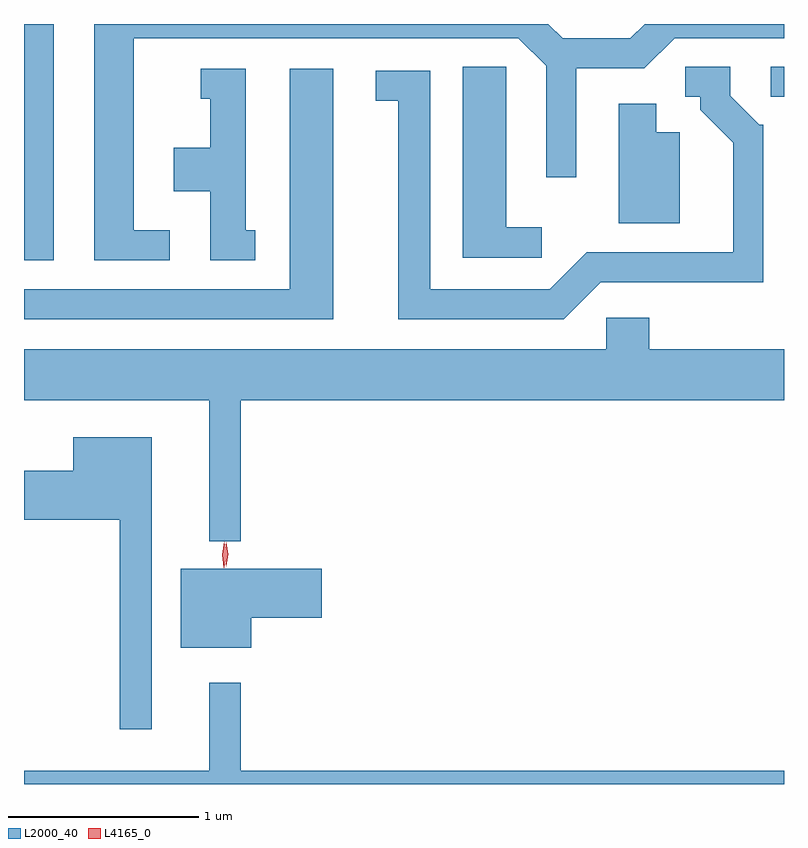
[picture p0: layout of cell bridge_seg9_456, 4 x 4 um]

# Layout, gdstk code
import gdstk
lib = gdstk.Library(unit=1e-6, precision=1e-09)
def R(c, l, rs):  # rectangles x0, y0, x1, y1
    for r in rs: c.add(gdstk.rectangle(r[:2], r[2:], *l))
def P(c, l, *ps):  # polygons
    for p in ps: c.add(gdstk.Polygon(p, *l))
L2000_40 = (2000, 40)
L4165_0 = (4165, 0)

bridge_seg9_456 = lib.new_cell('bridge_seg9_456')
R(bridge_seg9_456, L2000_40, [(525.097,2012.531,525.254,2013.775), (529.028,2013.391,529.097,2013.549)])
P(bridge_seg9_456, L2000_40, [(525.863,2012.689),(525.674,2012.689),(525.674,2013.701),(527.699,2013.701),(527.846,2013.554),(527.846,2012.968),(528.004,2012.968),(528.004,2013.541),(528.362,2013.541),(528.522,2013.701),(529.097,2013.701),(529.097,2013.775),(528.365,2013.775),(528.289,2013.699),(527.932,2013.699),(527.856,2013.775),(525.466,2013.775),(525.466,2012.531),(525.863,2012.531)],
  [(527.823,2012.704),(527.634,2012.704),(527.634,2013.549),(527.406,2013.549),(527.406,2012.546),(527.823,2012.546)],
  [(528.132,2012.416),(528.989,2012.416),(528.989,2013.244),(528.967,2013.244),(528.814,2013.397),(528.814,2013.549),(528.578,2013.549),(528.578,2013.391),(528.656,2013.391),(528.656,2013.324),(528.831,2013.149),(528.831,2012.574),(528.059,2012.574),(527.864,2012.379),(527.234,2012.379),(527.234,2013.529),(526.948,2013.529),(526.948,2013.371),(527.066,2013.371),(527.066,2012.221),(527.937,2012.221)],
  [(526.313,2012.689),(526.264,2012.689),(526.264,2013.539),(526.028,2013.539),(526.028,2013.381),(526.076,2013.381),(526.076,2013.124),(525.886,2013.124),(525.886,2012.896),(526.076,2012.896),(526.076,2012.531),(526.313,2012.531)],
  [(526.724,2013.539),(526.496,2013.539),(526.496,2012.379),(525.097,2012.379),(525.097,2012.221),(526.724,2012.221)],
  [(528.549,2013.204),(528.424,2013.204),(528.424,2013.354),(528.226,2013.354),(528.226,2012.726),(528.549,2012.726)],
  [(526.239,2011.796),(529.097,2011.796),(529.097,2012.064),(528.389,2012.064),(528.389,2012.229),(528.161,2012.229),(528.161,2012.064),(525.097,2012.064),(525.097,2011.796),(526.071,2011.796),(526.071,2011.053),(526.239,2011.053)],
  [(525.769,2011.599),(525.356,2011.599),(525.356,2011.424),(525.097,2011.424),(525.097,2011.166),(525.601,2011.166),(525.601,2010.063),(525.769,2010.063)],
  [(526.294,2010.651),(526.664,2010.651),(526.664,2010.909),(525.921,2010.909),(525.921,2010.491),(526.294,2010.491)],
  [(529.097,2009.844),(526.239,2009.844),(526.239,2010.308),(526.071,2010.308),(526.071,2009.844),(525.097,2009.844),(525.097,2009.775),(529.097,2009.775)])
P(bridge_seg9_456, L4165_0, [(526.161,2010.92),(526.152,2010.983),(526.161,2011.046),(526.162,2011.047),(526.162,2011.046),(526.172,2010.983),(526.162,2010.92),(526.162,2010.92)],
  [(526.149,2010.914),(526.149,2010.914),(526.14,2010.982),(526.15,2011.05),(526.151,2011.05),(526.152,2011.05),(526.16,2010.982),(526.15,2010.914)])

lib.write_gds('bridge_seg9_456.gds')
